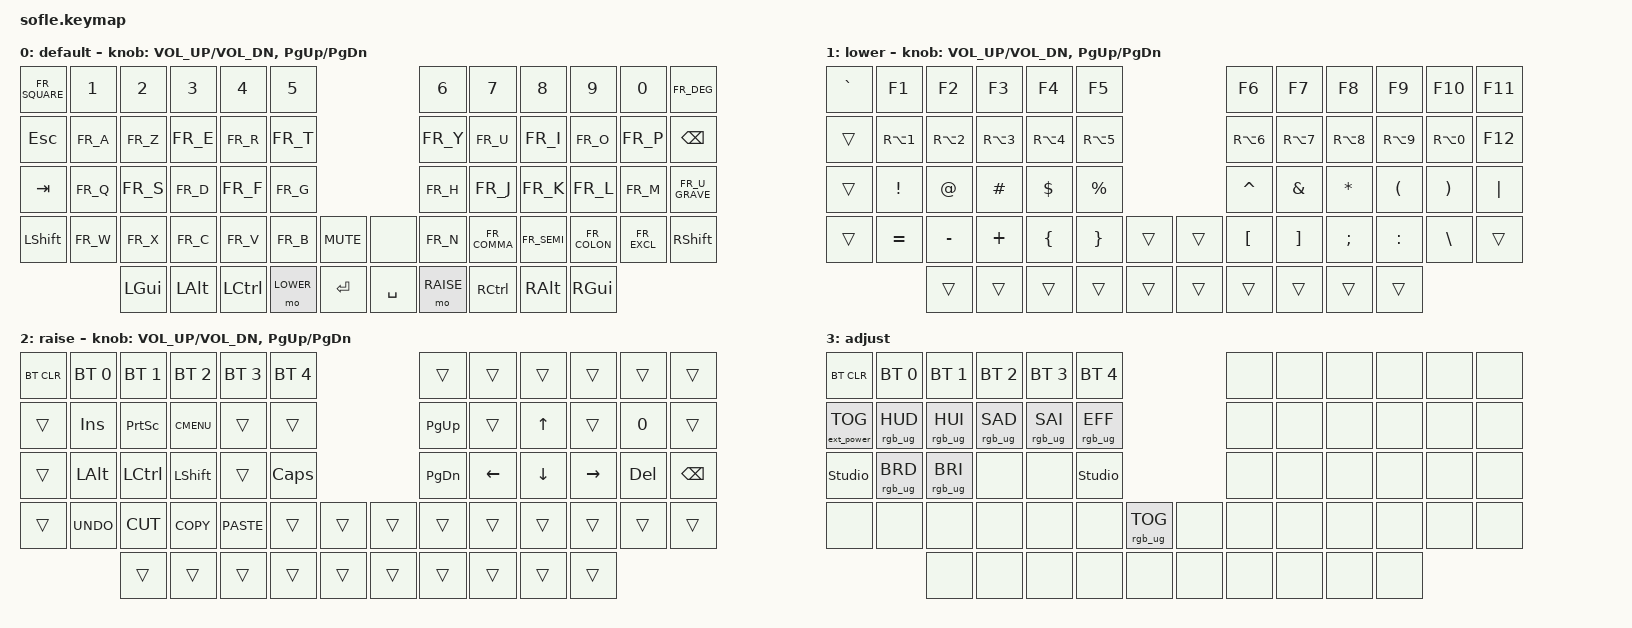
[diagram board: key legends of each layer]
/*
 * Copyright (c) 2020 The ZMK Contributors
 *
 * SPDX-License-Identifier: MIT
 */

#include <behaviors.dtsi>
#include <dt-bindings/zmk/bt.h>
#include <dt-bindings/zmk/ext_power.h>
#include <dt-bindings/zmk/keys.h>
#include <dt-bindings/zmk/rgb.h>
#include "keys_fr.h"

#define BASE 0
#define LOWER 1
#define RAISE 2
#define ADJUST 3

/ {
    // Activate ADJUST layer by pressing raise and lower

    conditional_layers {
        compatible = "zmk,conditional-layers";

        adjust_layer {
            if-layers = <LOWER RAISE>;
            then-layer = <ADJUST>;
        };
    };

    keymap {
        compatible = "zmk,keymap";

        default_layer {
            display-name = "default";

            // ------------------------------------------------------------------------------------------------------------
            // |   ²   |  1  |  2  |  3   |  4   |  5   |                   |  6   |  7    |  8    |  9   |   0   |       |
            // |  ESC  |  A  |  Z  |  E   |  R   |  T   |                   |  Y   |  U    |  I    |  O   |   P   | BKSPC |
            // |  TAB  |  Q  |  S  |  D   |  F   |  G   |                   |  H   |  J    |  K    |  L   |   M   |   ù   |
            // | SHIFT |  w  |  X  |  C   |  V   |  B   |  MUTE  |  |       |  N   |  ,    |  ;    |  :   |   !   | SHIFT |
            //               | GUI | ALT  | CTRL | LOWER|  ENTER |  | SPACE | RAISE| CTRL  | ALT   | GUI  |

            bindings = <
&kp FR_SQUARE  &kp N1     &kp N2       &kp N3     &kp N4     &kp N5                              &kp N6     &kp N7        &kp N8      &kp N9        &kp N0       &kp FR_DEG
&kp ESC        &kp FR_A   &kp FR_Z     &kp FR_E   &kp FR_R   &kp FR_T                            &kp FR_Y   &kp FR_U      &kp FR_I    &kp FR_O      &kp FR_P     &kp BSPC
&kp TAB        &kp FR_Q   &kp FR_S     &kp FR_D   &kp FR_F   &kp FR_G                            &kp FR_H   &kp FR_J      &kp FR_K    &kp FR_L      &kp FR_M     &kp FR_U_GRAVE
&kp LSHFT      &kp FR_W   &kp FR_X     &kp FR_C   &kp FR_V   &kp FR_B   &kp C_MUTE    &none      &kp FR_N   &kp FR_COMMA  &kp FR_SEMI &kp FR_COLON  &kp FR_EXCL  &kp RSHFT
                          &kp LGUI     &kp LALT   &kp LCTRL  &mo LOWER  &kp RET       &kp SPACE  &mo RAISE  &kp RCTRL     &kp RALT    &kp RGUI
            >;

            sensor-bindings = <&inc_dec_kp C_VOL_UP C_VOL_DN &inc_dec_kp PG_UP PG_DN>;
        };

        lower_layer {
            display-name = "lower";

            // TODO: Some binds are waiting for shifted keycode support.
            // ------------------------------------------------------------------------------------------------------------
            // |       |  F1 |  F2 |  F3  |  F4  |  F5  |                   |  F6  |  F7   |  F8   |  F9  |  F10  |  F11  |
            // |   `   |  1  |  2  |  3   |  4   |  5   |                   |  6   |  7    |  8    |  9   |   0   |  F12  |
            // |       |  !  |  @  |  #   |  $   |  %   |                   |  ^   |  &    |  *    |  (   |   )   |   |   |
            // |       |  =  |  -  |  +   |  {   |  }   |        |  |       |  [   |  ]    |  ;    |  :   |   \   |       |
            //               |     |      |      |      |        |  |       |      |       |       |      |

            bindings = <
&kp GRAVE   &kp F1      &kp F2      &kp F3     &kp F4     &kp F5                       &kp F6     &kp F7     &kp F8     &kp F9     &kp F10    &kp F11
&trans      &kp RA(N1)  &kp RA(N2)  &kp RA(N3) &kp RA(N4) &kp RA(N5)                   &kp RA(N6) &kp RA(N7) &kp RA(N8) &kp RA(N9) &kp RA(N0) &kp F12
&trans      &kp EXCL    &kp AT      &kp HASH   &kp DLLR   &kp PRCNT                    &kp CARET  &kp AMPS   &kp ASTRK  &kp LPAR   &kp RPAR   &kp PIPE
&trans      &kp EQUAL   &kp MINUS   &kp PLUS   &kp LBRC   &kp RBRC   &trans    &trans  &kp LBKT   &kp RBKT   &kp SEMI   &kp COLON  &kp BSLH   &trans
                        &trans      &trans     &trans     &trans     &trans    &trans  &trans     &trans     &trans     &trans
            >;

            sensor-bindings = <&inc_dec_kp C_VOL_UP C_VOL_DN &inc_dec_kp PG_UP PG_DN>;
        };

        raise_layer {
            display-name = "raise";

            // ------------------------------------------------------------------------------------------------------------
            // | BTCLR | BT1  | BT2  |  BT3  |  BT4  |  BT5 |                |      |      |       |      |       |       |
            // |       | INS  | PSCR | GUI   |       |      |                | PGUP |      |   ^   |      |       |       |
            // |       | ALT  | CTRL | SHIFT |       | CAPS |                | PGDN |   <- |   v   |  ->  |  DEL  | BKSPC |
            // |       | UNDO | CUT  | COPY  | PASTE |      |      |  |      |      |      |       |      |       |       |
            //                |      |       |       |      |      |  |      |      |      |       |      |

            bindings = <
&bt BT_CLR  &bt BT_SEL 0  &bt BT_SEL 1  &bt BT_SEL 2  &bt BT_SEL 3  &bt BT_SEL 4                    &trans     &trans    &trans    &trans     &trans   &trans
&trans      &kp INS       &kp PSCRN     &kp K_CMENU   &trans        &trans                          &kp PG_UP  &trans    &kp UP    &trans     &kp N0   &trans
&trans      &kp LALT      &kp LCTRL     &kp LSHFT     &trans        &kp CLCK                        &kp PG_DN  &kp LEFT  &kp DOWN  &kp RIGHT  &kp DEL  &kp BSPC
&trans      &kp K_UNDO    &kp K_CUT     &kp K_COPY    &kp K_PASTE   &trans        &trans    &trans  &trans     &trans    &trans    &trans     &trans   &trans
                          &trans        &trans        &trans        &trans        &trans    &trans  &trans     &trans    &trans    &trans
            >;

            sensor-bindings = <&inc_dec_kp C_VOL_UP C_VOL_DN &inc_dec_kp PG_UP PG_DN>;
        };

        adjust_layer {
            // ----------------------------------------------------------------------------------------------------------------------------
            // | BTCLR  |  BT1    |  BT2    |   BT3   |   BT4   |   BT5   |                  |      |      |       |      |       |       |
            // | EXTPWR | RGB_HUD | RGB_HUI | RGB_SAD | RGB_SAI | RGB_EFF |                  |      |      |       |      |       |       |
            // |        | RGB_BRD | RGB_BRI |         |         |         |                  |      |      |       |      |       |       |
            // |        |         |         |         |         |         | RGB_TOG | |      |      |      |       |      |       |       |
            //                    |         |         |         |         |         | |      |      |      |       |      |

            display-name = "adjust";
            bindings = <
&bt BT_CLR         &bt BT_SEL 0     &bt BT_SEL 1     &bt BT_SEL 2     &bt BT_SEL 3     &bt BT_SEL 4                               &none  &none  &none  &none  &none  &none
&ext_power EP_TOG  &rgb_ug RGB_HUD  &rgb_ug RGB_HUI  &rgb_ug RGB_SAD  &rgb_ug RGB_SAI  &rgb_ug RGB_EFF                            &none  &none  &none  &none  &none  &none
&studio_unlock     &rgb_ug RGB_BRD  &rgb_ug RGB_BRI  &none            &none            &studio_unlock                             &none  &none  &none  &none  &none  &none
&none              &none            &none            &none            &none            &none            &rgb_ug RGB_TOG    &none  &none  &none  &none  &none  &none  &none
                                    &none            &none            &none            &none            &none              &none  &none  &none  &none  &none
            >;
        };
    };
};
